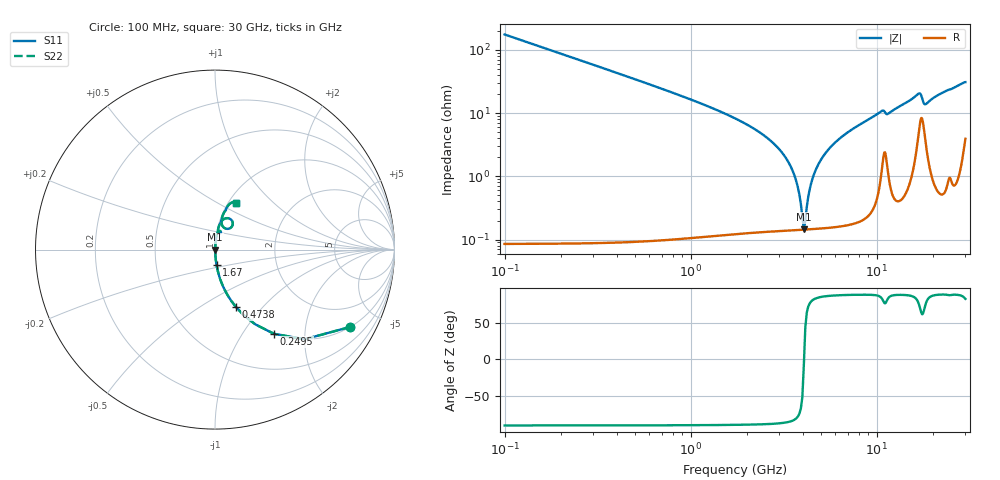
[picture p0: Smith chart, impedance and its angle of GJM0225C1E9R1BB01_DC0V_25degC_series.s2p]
!Murata Part Number: GJM0225C1E9R1BB01
!These Parameters are Measured in Series Mode Connection
!  o--ll--o
!Port1  Port2
!  o------o
!Operation Temp=25[degC], DC Bias Voltage=0[V]
!Freq. Start=100[MHz] Stop=30[GHz], 401[Steps]
!Data Generated on Feb 1, 2023
# Hz S RI R 50
!Freq.(Hz) S11(Real) S11(Imag) S21(Real) S21(Imag) S12(Real) S12(Imag) S22(Real) S22(Imag)
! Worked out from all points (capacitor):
!   401 points, 100 MHz to 30 GHz, reference 50 ohm
!   read as one part in series: C = 9.1 pF near 249.5 MHz
!   lowest |Z| = 144 mohm at 4.062 GHz (marker M1)
!   series resonance near 4.07 GHz, so ESL is about 170 pH
!   S11 on the Smith chart (normalised r, x): 100 MHz: 1.00, -3.50; 249.5 MHz: 1.00, -1.40; 473.8 MHz: 1.00, -0.73; 1.67 GHz: 1.00, -0.17; 30 GHz: 1.08, +0.61
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1e8  0.7533 -0.4309  0.2467 0.4309  0.2467 0.4309  0.7533 -0.4309
2.495e8  0.328 -0.4689  0.672 0.4689  0.672 0.4689  0.328 -0.4689
4.7375e8  0.1176 -0.3209  0.8824 0.3209  0.8824 0.3209  0.1176 -0.3209
9.2225e8  0.0322 -0.1737  0.9678 0.1737  0.9678 0.1737  0.0322 -0.1737
1.66975e9  0.00868 -0.0861  0.9913 0.0861  0.9913 0.0861  0.00868 -0.0861
3.31425e9  0.0017 -0.0177  0.9983 0.0177  0.9983 0.0177  0.0017 -0.0177
3.688e9  0.00148 -0.00846  0.9985 0.00846  0.9985 0.00846  0.00148 -0.00846
3.91225e9  0.00143 -0.00339  0.9986 0.00339  0.9986 0.00339  0.00143 -0.00339
4.06175e9  0.00143 -0.000173  0.9986 0.000173  0.9986 0.000173  0.00143 -0.000173
4.21125e9  0.00145 0.00293  0.9985 -0.00293  0.9985 -0.00293  0.00145 0.00293
4.36075e9  0.00149 0.00593  0.9985 -0.00593  0.9985 -0.00593  0.00149 0.00593
4.585e9  0.00157 0.0103  0.9984 -0.0103  0.9984 -0.0103  0.00157 0.0103
5.10825e9  0.00189 0.0197  0.9981 -0.0197  0.9981 -0.0197  0.00189 0.0197
6.8275e9  0.00386 0.0468  0.9961 -0.0468  0.9961 -0.0468  0.00386 0.0468
1.01165e10  0.014 0.0951  0.986 -0.0951  0.986 -0.0951  0.014 0.0951
1.1462e10  0.0213 0.0927  0.9787 -0.0927  0.9787 -0.0927  0.0213 0.0927
1.505e10  0.0313 0.1516  0.9687 -0.1516  0.9687 -0.1516  0.0313 0.1516
1.691875e10  0.0837 0.1712  0.9163 -0.1712  0.9163 -0.1712  0.0837 0.1712
1.81895e10  0.0547 0.1191  0.9453 -0.1191  0.9453 -0.1191  0.0547 0.1191
2.005825e10  0.0362 0.1635  0.9638 -0.1635  0.9638 -0.1635  0.0362 0.1635
2.50665e10  0.0613 0.2221  0.9387 -0.2221  0.9387 -0.2221  0.0613 0.2221
3e10  0.1145 0.2607  0.8855 -0.2607  0.8855 -0.2607  0.1145 0.2607
